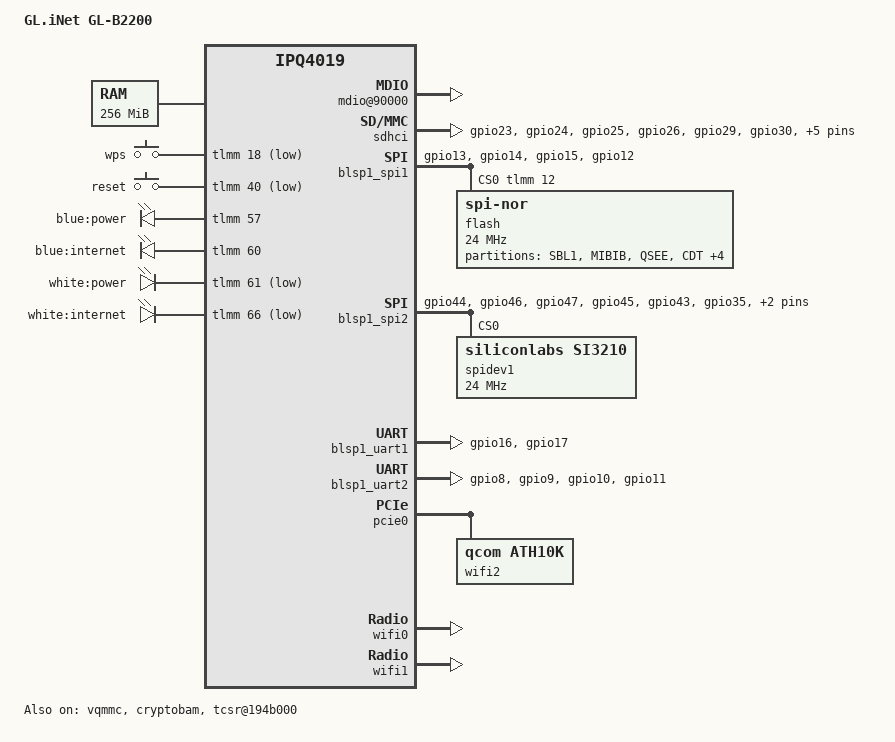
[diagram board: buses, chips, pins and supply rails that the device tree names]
// SPDX-License-Identifier: GPL-2.0-only OR MIT

#include "qcom-ipq4019.dtsi"
#include <dt-bindings/gpio/gpio.h>
#include <dt-bindings/input/input.h>
#include <dt-bindings/soc/qcom,tcsr.h>

/ {
	model = "GL.iNet GL-B2200";
	compatible = "glinet,gl-b2200", "qcom,ipq4019";

	memory {
		device_type = "memory";
		reg = <0x80000000 0x10000000>;
	};

	chosen {
		bootargs-append = " root=/dev/mmcblk0p2 rw rootwait clk_ignore_unused";
	};

	soc {
		rng@22000 {
			status = "okay";
		};

		mdio@90000 {
			status = "okay";
		};

		ess-psgmii@98000 {
			status = "okay";
		};

		tcsr@1949000 {
			compatible = "qcom,tcsr";
			reg = <0x1949000 0x100>;
			qcom,wifi_glb_cfg = <TCSR_WIFI_GLB_CFG>;
		};

		tcsr@194b000 {
			/* select hostmode */
			compatible = "qcom,tcsr";
			reg = <0x194b000 0x100>;
			qcom,usb-hsphy-mode-select = <TCSR_USB_HSPHY_HOST_MODE>;
			status = "okay";
		};

		ess_tcsr@1953000 {
			compatible = "qcom,tcsr";
			reg = <0x1953000 0x1000>;
			qcom,ess-interface-select = <TCSR_ESS_PSGMII>;
		};

		tcsr@1957000 {
			compatible = "qcom,tcsr";
			reg = <0x1957000 0x100>;
			qcom,wifi_noc_memtype_m0_m2 = <TCSR_WIFI_NOC_MEMTYPE_M0_M2>;
		};

		crypto@8e3a000 {
			status = "okay";
		};

		ess-switch@c000000 {
			status = "okay";
			switch_lan_bmp = <0x2e>;
			switch_wan_bmp = <0x10>;
		};

		edma@c080000 {
			status = "okay";
		};
	};

	keys {
		compatible = "gpio-keys";

		wps {
			label = "wps";
			gpios = <&tlmm 18 GPIO_ACTIVE_LOW>;
			linux,code = <KEY_WPS_BUTTON>;
			linux,input-type = <1>;
		};

		reset {
			label = "reset";
			gpios = <&tlmm 40 GPIO_ACTIVE_LOW>;
			linux,code = <KEY_RESTART>;
			linux,input-type = <1>;
		};
	};

	leds {
		compatible = "gpio-leds";

		power_blue {
			label = "blue:power";
			gpios = <&tlmm 57 GPIO_ACTIVE_HIGH>;
			default-state = "on";
		};
		internet_blue {
			label = "blue:internet";
			gpios = <&tlmm 60 GPIO_ACTIVE_HIGH>;
		};
		power_white {
			label = "white:power";
			gpios = <&tlmm 61 GPIO_ACTIVE_LOW>;
		};
		internet_white {
			label = "white:internet";
			gpios = <&tlmm 66 GPIO_ACTIVE_LOW>;
		};
	};
};

&gmac1 {
	qcom,phy_mdio_addr = <3>;
	qcom,poll_required = <1>;
	qcom,forced_speed = <1000>;
	qcom,forced_duplex = <1>;
	vlan_tag = <2 0x10>;
};

&gmac0 {
	vlan_tag = <1 0x2e>;
};

&vqmmc {
	status = "okay";
};

&sdhci {
	status = "okay";
	pinctrl-0 = <&sd_pins>;
	pinctrl-names = "default";
	cd-gpios = <&tlmm 3 GPIO_ACTIVE_LOW>;
	vqmmc-supply = <&vqmmc>;
};

&blsp_dma {
	status = "okay";
};

&cryptobam {
	status = "okay";
};

&blsp1_spi1 {
	pinctrl-0 = <&spi_0_pins>;
	pinctrl-names = "default";
	status = "okay";
	cs-gpios = <&tlmm 12 GPIO_ACTIVE_HIGH>;

	flash@0 {
		compatible = "jedec,spi-nor";
		reg = <0>;
		spi-max-frequency = <24000000>;

		partitions {
			compatible = "fixed-partitions";
			#address-cells = <1>;
			#size-cells = <1>;

			partition@0 {
				label = "SBL1";
				reg = <0x0 0x40000>;
				read-only;
			};

			partition@40000 {
				label = "MIBIB";
				reg = <0x40000 0x20000>;
				read-only;
			};

			partition@60000 {
				label = "QSEE";
				reg = <0x60000 0x60000>;
				read-only;
			};

			partition@c0000 {
				label = "CDT";
				reg = <0xc0000 0x10000>;
				read-only;
			};

			partition@d0000 {
				label = "DDRPARAMS";
				reg = <0xd0000 0x10000>;
				read-only;
			};

			partition@e0000 {
				label = "APPSBLENV";
				reg = <0xe0000 0x10000>;
				read-only;
			};

			partition@f0000 {
				label = "APPSBL";
				reg = <0xf0000 0x80000>;
				read-only;
			};

			partition@170000 {
				label = "ART";
				reg = <0x170000 0x10000>;
				read-only;
				compatible = "nvmem-cells";
				#address-cells = <1>;
				#size-cells = <1>;

				precal_art_1000: precal@1000 {
					reg = <0x1000 0x2f20>;
				};

				precal_art_5000: precal@5000 {
					reg = <0x5000 0x2f20>;
				};

				precal_art_9000: precal@9000 {
					reg = <0x9000 0x2f20>;
				};
			};
		};
	};
};

&blsp1_spi2 {
	pinctrl-0 = <&spi_1_pins>;
	pinctrl-names = "default";
	status = "okay";

	spidev1: spi@0 {
		compatible = "siliconlabs,si3210";
		reg = <0>;
		spi-max-frequency = <24000000>;
	};
};

&blsp1_uart1 {
	pinctrl-0 = <&serial_pins>;
	pinctrl-names = "default";
	status = "okay";
};

&blsp1_uart2 {
	pinctrl-0 = <&serial_1_pins>;
	pinctrl-names = "default";
	status = "okay";
};

&tlmm {
	serial_pins: serial_pinmux {
		mux {
			pins = "gpio16", "gpio17";
			function = "blsp_uart0";
			bias-disable;
		};
	};

	serial_1_pins: serial1_pinmux {
		mux {
			pins = "gpio8", "gpio9",
				"gpio10", "gpio11";
			function = "blsp_uart1";
			bias-disable;
		};
	};

	spi_0_pins: spi_0_pinmux {
		pinmux {
			function = "blsp_spi0";
			pins = "gpio13", "gpio14", "gpio15";
		};
		pinmux_cs {
			function = "gpio";
			pins = "gpio12";
		};
		pinconf {
			pins = "gpio13", "gpio14", "gpio15";
			drive-strength = <12>;
			bias-disable;
		};
		pinconf_cs {
			pins = "gpio12";
			drive-strength = <2>;
			bias-disable;
			output-high;
		};
	};

	spi_1_pins: spi_1_pinmux {
		mux {
			pins = "gpio44", "gpio46", "gpio47";
			function = "blsp_spi1";
			bias-disable;
		};
		cs {
			pins = "gpio45";
			function = "gpio";
			bias-pull-up;
		};
		reset {
			pins = "gpio43";
			function = "gpio";
			output-high;
		};
		mux_2 {
			pins = "gpio35";
			function = "gpio";
			output-high;
		};
		host_int {
			pins = "gpio2";
			function = "gpio";
			input;
		};
		wake {
			pins = "gpio48";
			function = "gpio";
			output-high;
		};
	};

	sd_pins: sd_pins {
		pinmux {
			function = "sdio";
			pins = "gpio23", "gpio24", "gpio25", "gpio26",
				"gpio29", "gpio30", "gpio31", "gpio32";
			drive-strength = <10>;
		};

		pinmux_sd_clk {
			function = "sdio";
			pins = "gpio27";
			drive-strength = <16>;
		};

		pinmux_sd7 {
			function = "sdio";
			pins = "gpio28";
			drive-strength = <10>;
			bias-disable;
		};
	};

};

&pcie0 {
	status = "okay";
	perst-gpio = <&tlmm 38 GPIO_ACTIVE_LOW>;
	wake-gpio = <&tlmm 50 GPIO_ACTIVE_LOW>;

	bridge@0,0 {
		reg = <0x00000000 0 0 0 0>;
		#address-cells = <3>;
		#size-cells = <2>;
		ranges;

		wifi2: wifi@1,0 {
			status = "okay";
			/* Bootlog shows this is a 168c:0056 - QCA 9888v2 */
			compatible = "qcom,ath10k";
			reg = <0x00010000 0 0 0 0>;
			nvmem-cell-names = "pre-calibration";
			nvmem-cells = <&precal_art_9000>;
			qcom,ath10k-calibration-variant = "GL-B2200";
			ieee80211-freq-limit = <5450000 5900000>;
		};
	};
};

&wifi0 {
	status = "okay";
	nvmem-cell-names = "pre-calibration";
	nvmem-cells = <&precal_art_1000>;
	qcom,ath10k-calibration-variant = "GL-B2200";
};

&wifi1 {
	status = "okay";
	nvmem-cell-names = "pre-calibration";
	nvmem-cells = <&precal_art_5000>;
	qcom,ath10k-calibration-variant = "GL-B2200";
	ieee80211-freq-limit = <5100000 5400000>;
};
